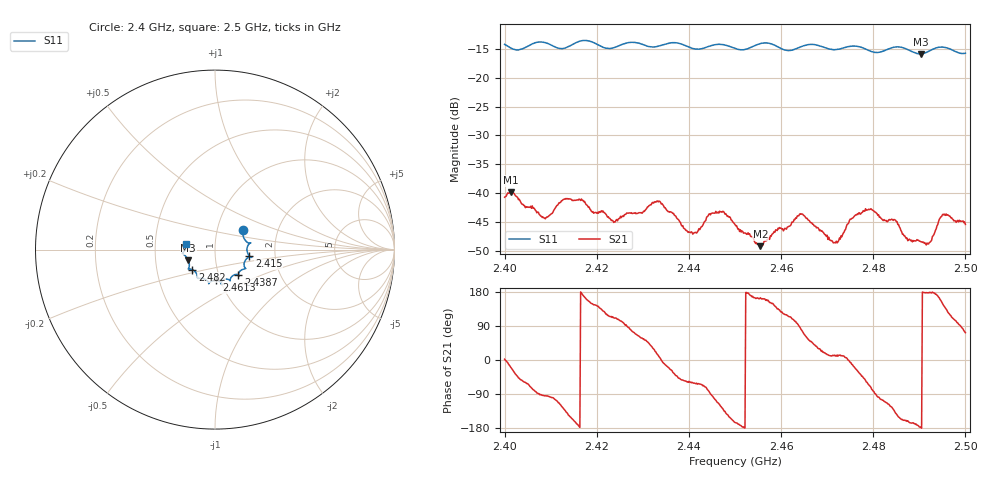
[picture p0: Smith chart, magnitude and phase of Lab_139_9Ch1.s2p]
# Hz S RI R 50
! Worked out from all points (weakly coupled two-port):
!   601 points, 2.4 GHz to 2.5 GHz, reference 50 ohm
!   highest |S21| = -39.79 dB at 2.4013 GHz (marker M1); lowest = -49.1 dB at 2.4555 GHz (marker M2)
!   lowest |S11| = -15.9 dB at 2.4903 GHz (marker M3), VSWR 1.38, Z = 36.8 - j4.45 ohm
!   |S11| at or under -10 dB: start of sweep to end of sweep
!   S12 and S22 are empty: the file has one direction only
!   S11 on the Smith chart (normalised r, x): 2.4 GHz: 1.33, +0.31; 2.415 GHz: 1.47, -0.11; 2.4387 GHz: 1.24, -0.37; 2.4613 GHz: 0.96, -0.34; 2.482 GHz: 0.76, -0.17; 2.5 GHz: 0.72, +0.05
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2.4e9  0.1578 0.1119  0.00925 0.000342  0 0  0 0
2.401333e9  0.1555 0.0913  0.00968 -0.00338  0 0  0 0
2.408667e9  0.1977 0.0372  -0.000492 -0.0061  0 0  0 0
2.415e9  0.192 -0.0362  -0.00813 -0.00299  0 0  0 0
2.416667e9  0.2032 -0.0438  -0.00892 0.000575  0 0  0 0
2.423667e9  0.1619 -0.0809  -0.00206 0.00522  0 0  0 0
2.433333e9  0.1324 -0.1315  0.00824 0.0018  0 0  0 0
2.438667e9  0.1306 -0.1417  0.00319 -0.00419  0 0  0 0
2.441333e9  0.106 -0.1411  0.00218 -0.00403  0 0  0 0
2.447167e9  0.0845 -0.1736  -0.00407 -0.00554  0 0  0 0
2.45e9  0.069 -0.1647  -0.00518 -0.0014  0 0  0 0
2.4555e9  0.0352 -0.1932  -0.00337 0.000949  0 0  0 0
2.461333e9  0.00784 -0.1711  -0.00236 0.00452  0 0  0 0
2.466667e9  -0.0348 -0.1903  0.00377 0.00408  0 0  0 0
2.471833e9  -0.0641 -0.1621  0.00367 0.000684  0 0  0 0
2.4765e9  -0.0964 -0.1592  0.00587 -0.00306  0 0  0 0
2.482e9  -0.126 -0.1114  -0.00164 -0.00568  0 0  0 0
2.483333e9  -0.1396 -0.1084  -0.00262 -0.00528  0 0  0 0
2.490333e9  -0.1488 -0.0589  -0.00382 -0.000193  0 0  0 0
2.492167e9  -0.1663 -0.0342  -0.00376 9.64e-05  0 0  0 0
2.495333e9  -0.1818 -0.0193  -0.0052 0.00393  0 0  0 0
2.5e9  -0.159 0.0321  0.00166 0.00513  0 0  0 0
